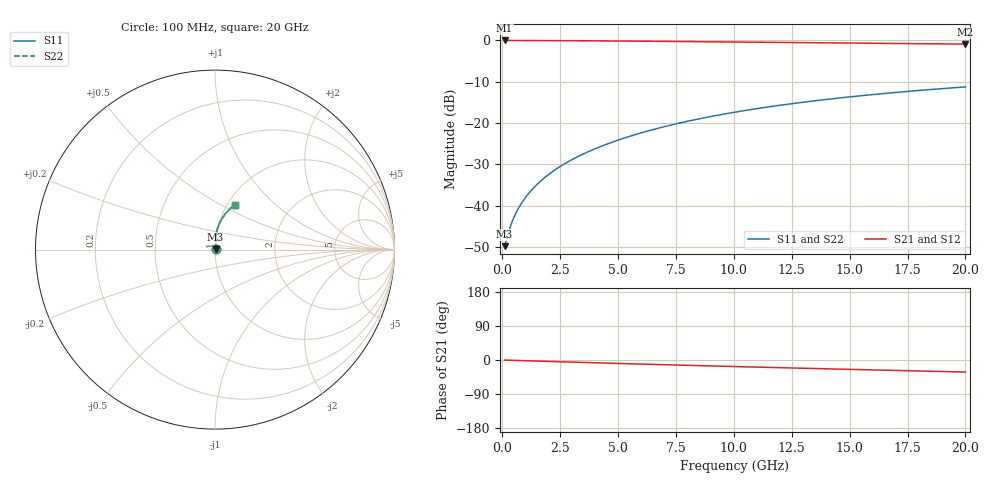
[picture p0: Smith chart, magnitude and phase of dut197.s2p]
! Touchstone file exported from HFSS 2024.1.0
!  File:  C:/UserFiles/LocalFiles/RDL_TSV_Batchsim/temp_RDL_bottom_197_1778699413.aedt
!  Generated:  03:12:19 AM May 14, 2026
!  Design:  RDL_bottom
!  Project:  temp_RDL_bottom_197_1778699413
!  Setup:  Setup1
!  Solution:  Sweep
! Variables:
!  dtsv = 10.80580581um
!  hbump = 3um
!  htsv = 51.17um
!  ldown = 476.93um
!  lrdl = 100um
!  p = 40
!  p1 = 41.3um
!  rhole = 1um
!  t = 450um
!  tdown = 2.79um
!  trdl = 3.915915916um
!  wdown = 22.61um
!  wrdl = 20um
# GHz S MA R 50.000000
! Terminal data exported
! Port[1] = RDL1_T1
! Port[2] = RDL1_T2
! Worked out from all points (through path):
!   200 points, 100 MHz to 20 GHz, reference 50 ohm
!   highest |S21| = -0.03 dB at 100 MHz (marker M1); lowest = -0.9 dB at 20 GHz (marker M2)
!   group delay of S21, straight-line fit = 4.37 ps
!   lowest |S11| = -49.8 dB at 100 MHz (marker M3), VSWR 1.01, Z = 50.3 + j0.139 ohm
!   |S11| at or under -10 dB: start of sweep to end of sweep
!   |S22| runs from -49.8 to -11.3 dB; largest |S21 - S12| = 2.7e-15
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0.1  0.00325 25.2  0.997 -0.2  0.997 -0.2  0.00325 25.2
! Gamma 0 0 0 0
! Port Impedance 50 0 50 0
0.3  0.005108 51.1  0.9967 -0.6  0.9967 -0.6  0.005108 51.1
0.4  0.006166 57.1  0.9965 -0.8  0.9965 -0.8  0.006166 57.1
0.5  0.007227 61.3  0.9963 -1.0  0.9963 -1.0  0.007227 61.3
0.6  0.008286 64.6  0.9962 -1.2  0.9962 -1.2  0.008286 64.6
0.8  0.01042 69.3  0.9958 -1.5  0.9958 -1.5  0.01042 69.3
1  0.01258 72.8  0.9955 -1.9  0.9955 -1.9  0.01258 72.8
1.2  0.01478 75.3  0.9952 -2.3  0.9952 -2.3  0.01478 75.3
1.7  0.02044 79.6  0.9942 -3.2  0.9942 -3.2  0.02044 79.6
2.2  0.0263 82.1  0.9929 -4.1  0.9929 -4.1  0.0263 82.2
2.8  0.03356 84.0  0.9911 -5.2  0.9911 -5.2  0.03356 84.1
3.5  0.04235 85.3  0.9886 -6.5  0.9886 -6.5  0.04235 85.4
4.2  0.05146 86.0  0.9858 -7.7  0.9858 -7.7  0.05147 86.0
5  0.06224 86.2  0.9821 -9.1  0.9821 -9.1  0.06225 86.3
5.9  0.07477 86.0  0.9777 -10.7  0.9777 -10.7  0.07479 86.0
6.8  0.08764 85.4  0.973 -12.2  0.973 -12.2  0.08767 85.4
8.4  0.1111 83.7  0.9643 -14.8  0.9643 -14.8  0.1111 83.8
10.1  0.1363 81.4  0.9549 -17.4  0.9549 -17.4  0.1364 81.5
11.7  0.1599 79.0  0.946 -19.9  0.946 -19.9  0.16 79.1
13.4  0.1846 76.4  0.9366 -22.4  0.9366 -22.4  0.1847 76.4
16.7  0.2306 71.1  0.9185 -27.2  0.9185 -27.2  0.2308 71.2
20  0.2736 66.0  0.9005 -31.8  0.9005 -31.8  0.2738 66.1
